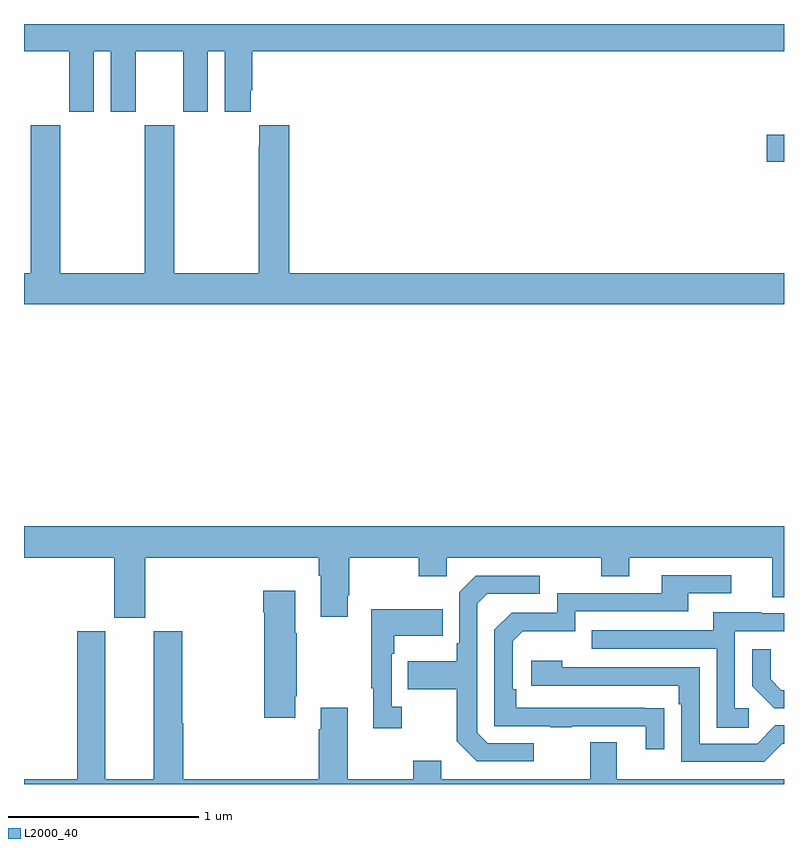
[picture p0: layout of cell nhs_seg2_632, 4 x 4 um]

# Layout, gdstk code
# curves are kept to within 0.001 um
import gdstk
lib = gdstk.Library(unit=1e-6, precision=1e-09)
def R(c, l, rs):  # rectangles x0, y0, x1, y1
    for r in rs: c.add(gdstk.rectangle(r[:2], r[2:], *l))
def P(c, l, *ps):  # polygons
    for p in ps: c.add(gdstk.Polygon(p, *l))
L2000_40 = (2000, 40)

nhs_seg2_632 = lib.new_cell('nhs_seg2_632')
R(nhs_seg2_632, L2000_40, [(146.91,627.074,147,627.216)])
P(nhs_seg2_632, L2000_40, [(143.368,627.656),(143.456,627.656),(143.456,627.339),(143.587,627.339),(143.587,627.656),(143.837,627.656),(143.837,627.339),(143.968,627.339),(143.968,627.656),(144.056,627.656),(144.056,627.339),(144.193,627.339),(144.193,627.451),(144.2,627.451),(144.2,627.656),(147,627.656),(147,627.8),(143,627.8),(143,627.656),(143.237,627.656),(143.237,627.339),(143.368,627.339)],
  [(147,626.488),(144.395,626.488),(144.395,627.268),(144.239,627.268),(144.239,627.155),(144.235,627.155),(144.235,626.488),(143.79,626.488),(143.79,627.268),(143.635,627.268),(143.635,626.488),(143.19,626.488),(143.19,627.268),(143.035,627.268),(143.035,626.488),(143,626.488),(143,626.324),(147,626.324)],
  [(143.638,624.992),(144.551,624.992),(144.551,624.896),(144.563,624.896),(144.563,624.681),(144.703,624.681),(144.703,624.793),(144.711,624.793),(144.711,624.992),(145.078,624.992),(145.078,624.893),(145.224,624.893),(145.224,624.992),(146.038,624.992),(146.038,624.893),(146.185,624.893),(146.185,624.992),(146.939,624.992),(146.939,624.784),(147,624.784),(147,625.156),(143,625.156),(143,624.992),(143.474,624.992),(143.474,624.675),(143.638,624.675)],
  [(146.369,624.2),(145.592,624.201),(145.592,624.298),(145.572,624.298),(145.572,624.552),(145.625,624.605),(145.902,624.605),(145.902,624.708),(146.497,624.708),(146.497,624.804),(146.722,624.804),(146.722,624.9),(146.357,624.9),(146.357,624.804),(145.806,624.804),(145.806,624.702),(145.566,624.702),(145.476,624.612),(145.476,624.105),(145.771,624.105),(145.771,624.1),(145.883,624.1),(145.883,624.105),(146.273,624.105),(146.273,623.982),(146.369,623.982)],
  [(145.684,624.015),(145.44,624.015),(145.386,624.069),(145.386,624.75),(145.437,624.801),(145.714,624.801),(145.714,624.897),(145.377,624.897),(145.29,624.81),(145.29,624.541),(145.278,624.541),(145.278,624.445),(145.021,624.445),(145.021,624.298),(145.278,624.298),(145.278,624.025),(145.383,623.919),(145.684,623.919)],
  [(144.427,624.262),(144.435,624.262),(144.435,624.593),(144.427,624.593),(144.427,624.817),(144.26,624.817),(144.26,624.704),(144.265,624.704),(144.265,624.15),(144.427,624.15)],
  [(144.988,624.206),(144.936,624.206),(144.936,624.485),(144.949,624.485),(144.949,624.581),(145.205,624.581),(145.205,624.721),(144.828,624.721),(144.828,624.305),(144.839,624.305),(144.839,624.093),(144.988,624.093)],
  [(146.815,624.198),(146.742,624.198),(146.742,624.603),(147,624.603),(147,624.699),(146.881,624.699),(146.881,624.703),(146.627,624.703),(146.627,624.609),(145.987,624.609),(145.987,624.513),(146.646,624.513),(146.646,624.097),(146.815,624.097)],
  [(147,623.824),(146.119,623.824),(146.119,624.019),(145.979,624.019),(145.979,623.824),(145.195,623.824),(145.195,623.923),(145.048,623.923),(145.048,623.824),(144.703,623.824),(144.703,624.202),(144.563,624.202),(144.563,624.089),(144.551,624.089),(144.551,623.824),(143.837,623.824),(143.837,624.12),(143.832,624.12),(143.832,624.603),(143.684,624.603),(143.684,623.824),(143.428,623.824),(143.428,624.603),(143.281,624.603),(143.281,623.824),(143,623.824),(143,623.8),(147,623.8)],
  [(147,624.294),(146.986,624.294),(146.929,624.351),(146.929,624.508),(146.832,624.508),(146.832,624.314),(146.948,624.198),(147,624.198)],
  [(146.991,624.012),(147,624.012),(147,624.108),(146.955,624.108),(146.859,624.012),(146.556,624.012),(146.556,624.414),(145.832,624.414),(145.832,624.448),(145.671,624.448),(145.671,624.318),(146.447,624.318),(146.447,624.221),(146.46,624.221),(146.46,623.916),(146.895,623.916)])

lib.write_gds('nhs_seg2_632.gds')
